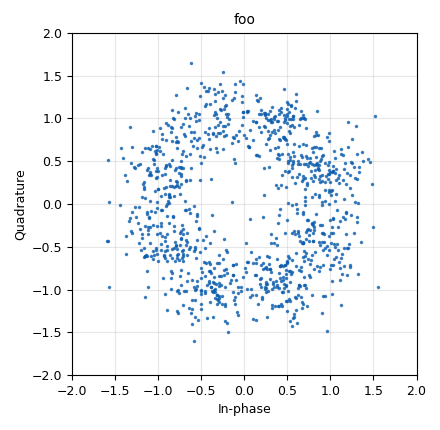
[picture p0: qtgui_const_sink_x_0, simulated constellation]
options:
  parameters:
    generate_options: qt_gui
    id: lab4
    output_language: python
    title: Not titled yet
  states: {}

blocks:
- name: EbN0
  id: variable_qtgui_range
  parameters:
    label: Eb / N0 (dB)
    start: '-200'
    step: '1'
    stop: '200'
    value: '1'
  states: {}
- name: const
  id: variable
  parameters:
    value: digital.constellation_bpsk(), digital.constellation_qpsk(), digital.constellation_8psk()
  states: {}
- name: const_type
  id: variable
  parameters:
    value: '2'
  states: {}
- name: samp_rate
  id: variable
  parameters:
    value: '100000'
  states: {}
- name: analog_noise_source_x_0
  id: analog_noise_source_x
  parameters:
    amp: 1.0 / math.sqrt(2.0 *const[const_type].bits_per_symbol() * 10**(EbN0/10.0))
    noise_type: analog.GR_GAUSSIAN
    seed: '42'
    type: complex
  states: {}
- name: analog_random_source_x_1
  id: analog_random_source_x
  parameters:
    max: '8'
    min: '0'
    num_samps: '10000000'
    repeat: 'True'
    type: byte
  states: {}
- name: blocks_add_xx_0
  id: blocks_add_xx
  parameters:
    type: complex
  states: {}
- name: blocks_throttle2_0
  id: blocks_throttle2
  parameters:
    samples_per_second: samp_rate
    type: byte
  states: {}
- name: digital_chunks_to_symbols_xx_0
  id: digital_chunks_to_symbols_xx
  parameters:
    dimension: '1'
    in_type: byte
    out_type: complex
    symbol_table: const[const_type].points()
  states: {}
- name: digital_constellation_decoder_cb_1
  id: digital_constellation_decoder_cb
  parameters:
    constellation: const[const_type].base()
  states: {}
- name: fec_ber_bf_1
  id: fec_ber_bf
  parameters:
    berminerrors: '10'
    test_mode: 'False'
  states: {}
- name: import_0
  id: import
  parameters:
    imports: import math
  states: {}
- name: qtgui_const_sink_x_0
  id: qtgui_const_sink_x
  parameters:
    name: '"foo"'
    size: '1024'
    type: complex
  states: {}
- name: qtgui_number_sink_1
  id: qtgui_number_sink
  parameters:
    autoscale: 'True'
    graph_type: qtgui.NUM_GRAPH_VERT
    type: float
  states: {}

connections:
- [analog_noise_source_x_0, '0', blocks_add_xx_0, '0']
- [analog_random_source_x_1, '0', blocks_throttle2_0, '0']
- [analog_random_source_x_1, '0', digital_chunks_to_symbols_xx_0, '0']
- [blocks_add_xx_0, '0', digital_constellation_decoder_cb_1, '0']
- [blocks_add_xx_0, '0', qtgui_const_sink_x_0, '0']
- [blocks_throttle2_0, '0', fec_ber_bf_1, '1']
- [digital_chunks_to_symbols_xx_0, '0', blocks_add_xx_0, '1']
- [digital_constellation_decoder_cb_1, '0', fec_ber_bf_1, '0']
- [fec_ber_bf_1, '0', qtgui_number_sink_1, '0']

metadata:
  file_format: 1
  grc_version: 3.10.9.2
